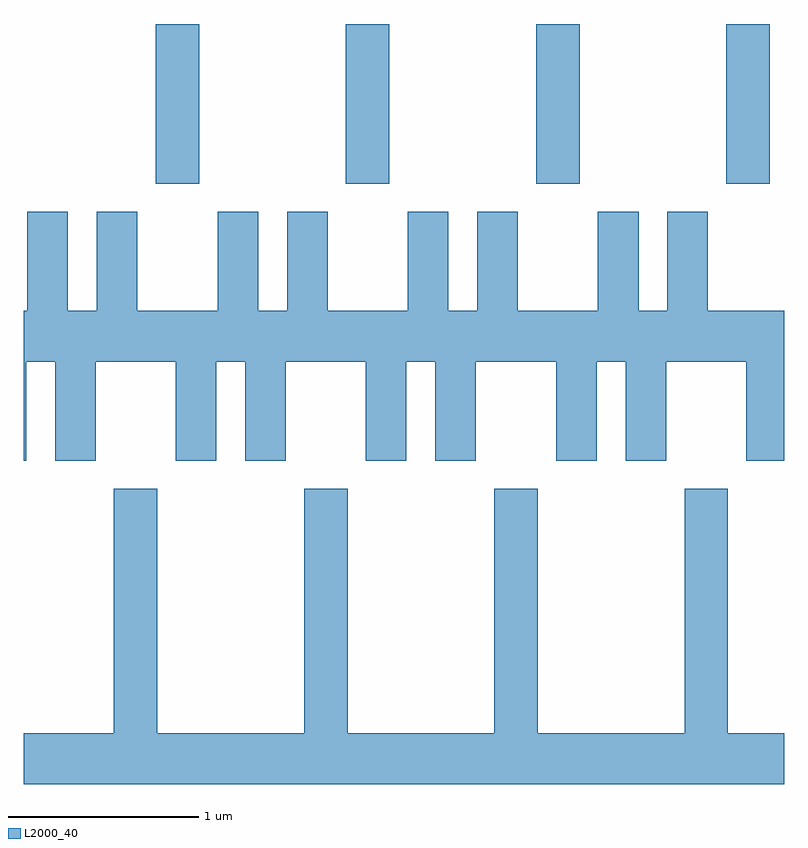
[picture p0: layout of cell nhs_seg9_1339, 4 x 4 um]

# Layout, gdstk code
import gdstk
lib = gdstk.Library(unit=1e-6, precision=1e-09)
def R(c, l, rs):  # rectangles x0, y0, x1, y1
    for r in rs: c.add(gdstk.rectangle(r[:2], r[2:], *l))
def A(c, l, x, y, w, h, nx, ny, dx, dy):  # array of equal rectangles
    R(c, l, [(x+i*dx, y+j*dy, x+i*dx+w, y+j*dy+h) for i in range(nx) for j in range(ny)])
def P(c, l, *ps):  # polygons
    for p in ps: c.add(gdstk.Polygon(p, *l))
L2000_40 = (2000, 40)

nhs_seg9_1339 = lib.new_cell('nhs_seg9_1339')
A(nhs_seg9_1339, L2000_40, 224.306, 2041.591, 0.228, 0.841, 4, 1, 1, 0)
P(nhs_seg9_1339, L2000_40, [(226.411,2040.136),(226.624,2040.136),(226.624,2040.656),(226.776,2040.656),(226.776,2040.136),(226.989,2040.136),(226.989,2040.656),(227.411,2040.656),(227.411,2040.136),(227.611,2040.136),(227.611,2040.924),(227.209,2040.924),(227.209,2041.444),(226.996,2041.444),(226.996,2040.924),(226.844,2040.924),(226.844,2041.444),(226.631,2041.444),(226.631,2040.924),(226.209,2040.924),(226.209,2041.444),(225.996,2041.444),(225.996,2040.924),(225.844,2040.924),(225.844,2041.444),(225.631,2041.444),(225.631,2040.924),(225.209,2040.924),(225.209,2041.444),(224.996,2041.444),(224.996,2040.924),(224.844,2040.924),(224.844,2041.444),(224.631,2041.444),(224.631,2040.924),(224.209,2040.924),(224.209,2041.444),(223.996,2041.444),(223.996,2040.924),(223.844,2040.924),(223.844,2041.444),(223.631,2041.444),(223.631,2040.924),(223.611,2040.924),(223.611,2040.136),(223.624,2040.136),(223.624,2040.656),(223.776,2040.656),(223.776,2040.136),(223.989,2040.136),(223.989,2040.656),(224.411,2040.656),(224.411,2040.136),(224.624,2040.136),(224.624,2040.656),(224.776,2040.656),(224.776,2040.136),(224.989,2040.136),(224.989,2040.656),(225.411,2040.656),(225.411,2040.136),(225.624,2040.136),(225.624,2040.656),(225.776,2040.656),(225.776,2040.136),(225.989,2040.136),(225.989,2040.656),(226.411,2040.656)],
  [(227.611,2038.704),(227.314,2038.704),(227.314,2039.989),(227.086,2039.989),(227.086,2038.704),(226.314,2038.704),(226.314,2039.989),(226.086,2039.989),(226.086,2038.704),(225.314,2038.704),(225.314,2039.989),(225.086,2039.989),(225.086,2038.704),(224.314,2038.704),(224.314,2039.989),(224.086,2039.989),(224.086,2038.704),(223.611,2038.704),(223.611,2038.436),(227.611,2038.436)])

lib.write_gds('nhs_seg9_1339.gds')
